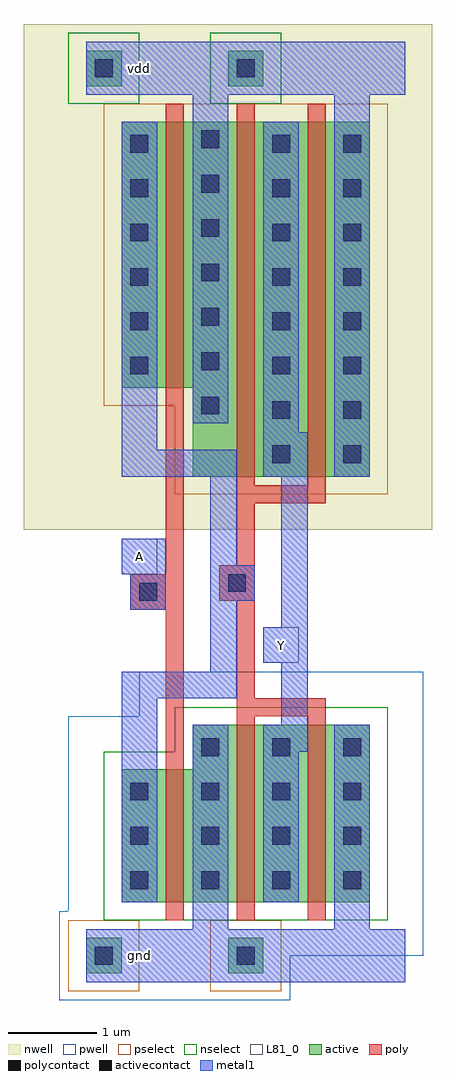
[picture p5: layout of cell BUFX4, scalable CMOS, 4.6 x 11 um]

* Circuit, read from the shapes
.subckt BUFX4 A Y gnd vdd
M1 gnd A n1 gnd nfet w=1.5u l=0.2u
M2 Y n1 gnd gnd nfet w=2u l=0.2u m=2
M3 vdd A n1 vdd pfet w=3u l=0.2u
M4 Y n1 vdd vdd pfet w=4u l=0.2u m=2
.ends

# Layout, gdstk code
import gdstk
lib = gdstk.Library(unit=1e-6, precision=1e-09)
def R(c, l, rs):  # rectangles x0, y0, x1, y1
    for r in rs: c.add(gdstk.rectangle(r[:2], r[2:], *l))
def A(c, l, x, y, w, h, nx, ny, dx, dy):  # array of equal rectangles
    R(c, l, [(x+i*dx, y+j*dy, x+i*dx+w, y+j*dy+h) for i in range(nx) for j in range(ny)])
pwell = (41, 0)
nwell = (42, 0)
active = (43, 0)
pselect = (44, 0)
nselect = (45, 0)
poly = (46, 0)
polycontact = (47, 0)
activecontact = (48, 0)
metal1 = (49, 0)
L81_0 = (81, 0)

bufx4 = lib.new_cell('BUFX4')
R(bufx4, pwell, [(-0.5,-0.5,2.1,0), (-0.5,0,3.6,0.5), (-0.4,0.5,3.6,2.7), (0.4,2.7,3.6,3.2)])
R(bufx4, nwell, [(-0.9,4.8,3.7,10.5)])
R(bufx4, active, [(-0.2,-0.2,0.2,0.2), (1.4,-0.2,1.8,0.2), (0.2,0.6,3,2.1), (1,2.1,3,2.6), (1,5.4,3,6.4), (0.2,6.4,3,9.4), (-0.2,9.8,0.2,10.2), (1.4,9.8,1.8,10.2)])
R(bufx4, pselect, [(-0.4,-0.4,0.4,0.4), (1.2,-0.4,2,0.4), (0.8,5.2,3.2,6.2), (0,6.2,3.2,9.6)])
R(bufx4, nselect, [(0,0.4,3.2,2.3), (0.8,2.3,3.2,2.8), (-0.4,9.6,0.4,10.4), (1.2,9.6,2,10.4)])
R(bufx4, poly, [(0.7,0.4,0.9,3.9), (1.5,0.4,1.7,2.7), (2.3,0.4,2.5,2.7), (1.5,2.7,2.5,2.9), (1.5,2.9,1.7,4), (0.3,3.9,0.9,4.3), (1.3,4,1.7,4.4), (0.7,4.3,0.9,9.6), (1.5,4.4,1.7,5.1), (1.5,5.1,2.5,5.3), (1.5,5.3,1.7,9.6), (2.3,5.3,2.5,9.6)])
R(bufx4, polycontact, [(0.4,4,0.6,4.2), (1.4,4.1,1.6,4.3)])
A(bufx4, activecontact, 0.3, 0.75, 0.2, 0.2, 4, 3, 0.8, 0.5)
A(bufx4, activecontact, 1.1, 2.25, 0.2, 0.2, 3, 1, 0.8, 0)
A(bufx4, activecontact, 1.9, 5.55, 0.2, 0.2, 1, 8, 0, 0.5)
A(bufx4, activecontact, 2.7, 5.55, 0.2, 0.2, 1, 8, 0, 0.5)
A(bufx4, activecontact, 1.1, 6.1, 0.2, 0.2, 1, 7, 0, 0.5)
A(bufx4, activecontact, 0.3, 6.55, 0.2, 0.2, 1, 6, 0, 0.5)
R(bufx4, activecontact, [(-0.1,-0.1,0.1,0.1), (1.5,-0.1,1.7,0.1), (-0.1,9.9,0.1,10.1), (1.5,9.9,1.7,10.1)])
R(bufx4, metal1, [(-0.2,-0.3,3.4,0.3), (1,0.3,1.4,2.6), (2.6,0.3,3,2.6), (0.2,0.6,0.6,2.9), (1.8,0.6,2.2,2.3), (1.8,2.3,2.3,2.6), (2,2.6,2.3,3.3), (0.2,2.9,1.5,3.2), (1.2,3.2,1.5,4), (1.8,3.3,2.3,3.7), (2,3.7,2.3,5.4), (0.3,3.9,0.7,4.3), (1.2,4,1.7,4.4), (0.2,4.3,0.7,4.7), (1.2,4.4,1.5,5.4), (0.2,5.4,1.5,5.7), (1.8,5.4,2.3,5.9), (2.6,5.4,3,9.7), (0.2,5.7,0.6,9.4), (1.8,5.9,2.2,9.4), (1,6,1.4,9.7), (-0.2,9.7,3.4,10.3)])
R(bufx4, L81_0, [(1.8,3.3,2.2,3.7), (0.2,4.3,0.6,4.7)])
bufx4.add(gdstk.Label('vdd', (0.4,10), layer=49, texttype=0))
bufx4.add(gdstk.Label('gnd', (0.4,0), layer=49, texttype=0))
bufx4.add(gdstk.Label('A', (0.4,4.5), layer=49, texttype=0))
bufx4.add(gdstk.Label('Y', (2,3.5), layer=49, texttype=0))

lib.write_gds('BUFX4.gds')
